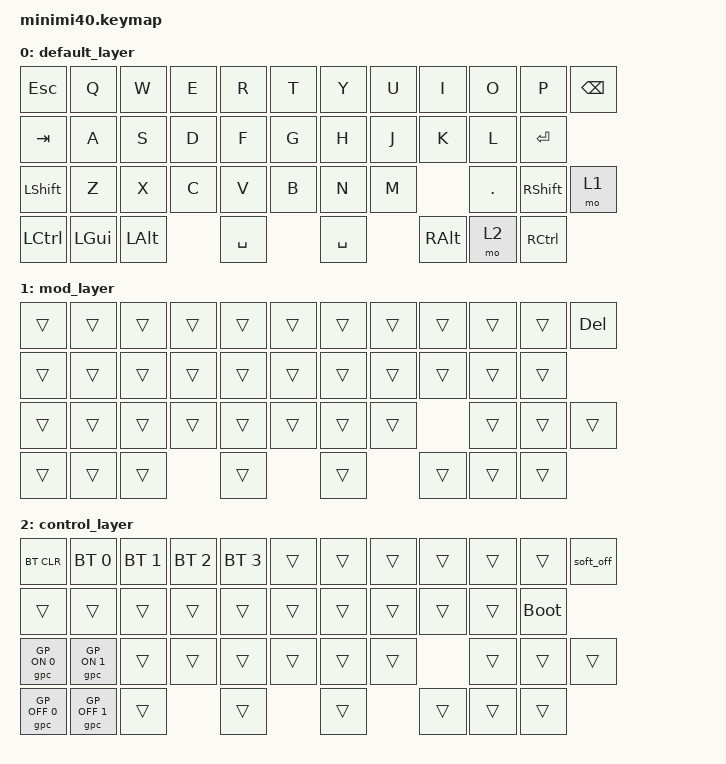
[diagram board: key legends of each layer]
/*
 * Copyright (c) 2024 CannonKeys LLC
 *
 * SPDX-License-Identifier: MIT
 */

#include <behaviors.dtsi>
#include <dt-bindings/zmk/keys.h>
#include <dt-bindings/zmk/bt.h>
#include <dt-bindings/zmk/control_gpio.h>

/ {
    keymap {
        compatible = "zmk,keymap";

        default_layer {
            bindings = <
    &kp ESC   &kp Q     &kp W     &kp E     &kp R     &kp T     &kp Y     &kp U     &kp I     &kp O     &kp P    &kp BSPC
    &kp TAB   &kp A     &kp S     &kp D     &kp F     &kp G     &kp H     &kp J     &kp K     &kp L     &kp RET
    &kp LSHFT &kp Z     &kp X     &kp C     &kp V     &kp B     &kp N     &kp M               &kp DOT   &kp RSHFT  &mo 1
    &kp LCTRL &kp LGUI  &kp LALT            &kp SPACE           &kp SPACE           &kp RALT  &mo 2     &kp RCTRL
                >;
        };

        mod_layer {
            bindings = <
    &trans   &trans  &trans  &trans     &trans   &trans   &trans     &trans    &trans    &trans    &trans    &kp DEL
    &trans   &trans  &trans  &trans     &trans   &trans   &trans     &trans    &trans    &trans    &trans
    &trans   &trans  &trans  &trans     &trans   &trans   &trans     &trans              &trans    &trans    &trans
    &trans   &trans  &trans             &trans            &trans               &trans    &trans    &trans
                >;
        };

        control_layer {
            bindings = <
    &bt BT_CLR    &bt BT_SEL 0  &bt BT_SEL 1  &bt BT_SEL 2     &bt BT_SEL 3   &trans   &trans     &trans    &trans    &trans    &trans    &soft_off
    &trans        &trans  &trans  &trans     &trans   &trans   &trans     &trans    &trans    &trans    &bootloader
    &gpc GP_ON 0  &gpc GP_ON 1  &trans  &trans     &trans   &trans   &trans     &trans              &trans    &trans    &trans
    &gpc GP_OFF 0 &gpc GP_OFF 1  &trans             &trans            &trans               &trans    &trans    &trans
                >;
        };
    };

/*
    combos {
        compatible = "zmk,combos";
        combo_bt {
            timeout-ms = <50>;
            key-positions = <59 68>;
            bindings = <&mo 2>;
        };
    };
*/
};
